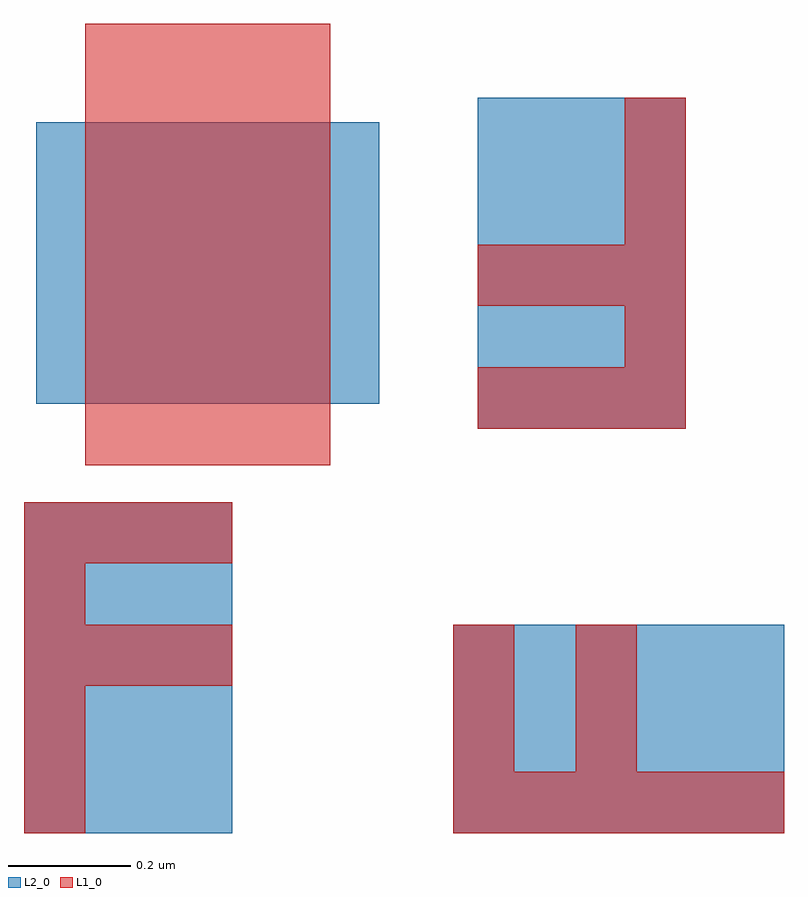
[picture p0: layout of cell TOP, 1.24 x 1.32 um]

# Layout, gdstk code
import gdstk
lib = gdstk.Library(unit=1e-6, precision=1e-09)
def R(c, l, rs):  # rectangles x0, y0, x1, y1
    for r in rs: c.add(gdstk.rectangle(r[:2], r[2:], *l))
def P(c, l, *ps):  # polygons
    for p in ps: c.add(gdstk.Polygon(p, *l))
L1_0 = (1, 0)
L2_0 = (2, 0)

c_l1 = lib.new_cell('L1')
R(c_l1, L1_0, [(-0.4,0.92,0,1.64)])
P(c_l1, L1_0, [(-0.5,0.32),(-0.5,0.86),(-0.16,0.86),(-0.16,0.76),(-0.4,0.76),(-0.4,0.66),(-0.16,0.66),(-0.16,0.56),(-0.4,0.56),(-0.4,0.32)],
  [(0.2,0.32),(0.2,0.66),(0.3,0.66),(0.3,0.42),(0.4,0.42),(0.4,0.66),(0.5,0.66),(0.5,0.42),(0.74,0.42),(0.74,0.32)],
  [(0.24,0.98),(0.24,1.08),(0.48,1.08),(0.48,1.18),(0.24,1.18),(0.24,1.28),(0.48,1.28),(0.48,1.52),(0.58,1.52),(0.58,0.98)])

c_l2 = lib.new_cell('L2')
R(c_l2, L2_0, [(-0.5,0.32,-0.16,0.86), (0.2,0.32,0.74,0.66), (0.24,0.98,0.58,1.52), (-0.48,1.02,0.08,1.48)])

top = lib.new_cell('TOP')
top.add(gdstk.Reference(c_l1, (0,0)))
top.add(gdstk.Reference(c_l2, (0,0)))

lib.write_gds('TOP.gds')
